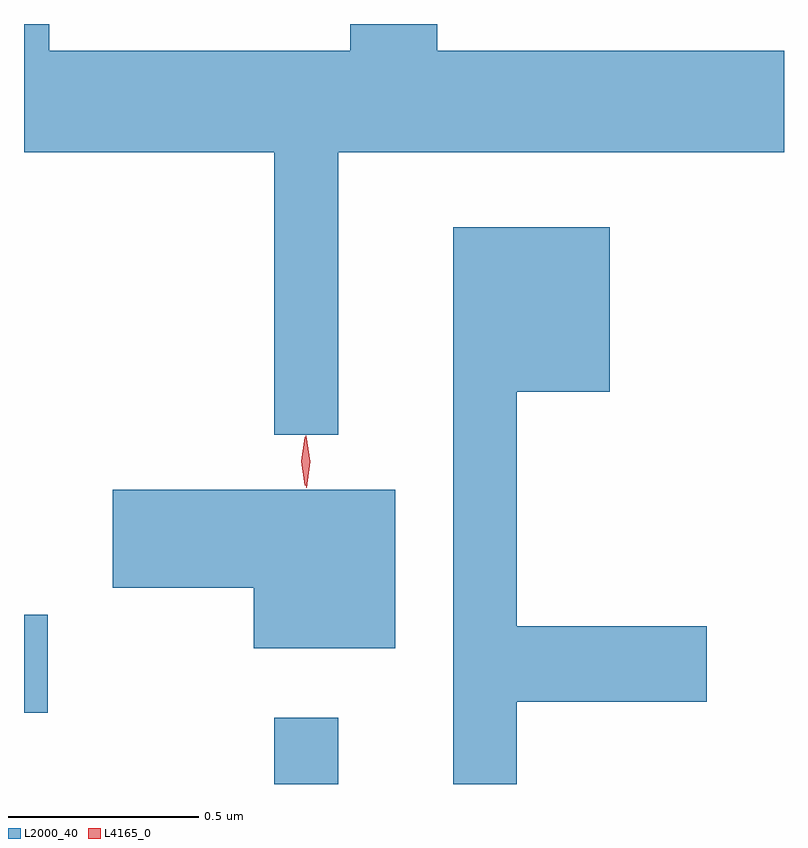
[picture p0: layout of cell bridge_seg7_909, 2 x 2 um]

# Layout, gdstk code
import gdstk
lib = gdstk.Library(unit=1e-6, precision=1e-09)
def R(c, l, rs):  # rectangles x0, y0, x1, y1
    for r in rs: c.add(gdstk.rectangle(r[:2], r[2:], *l))
def P(c, l, *ps):  # polygons
    for p in ps: c.add(gdstk.Polygon(p, *l))
L2000_40 = (2000, 40)
L4165_0 = (4165, 0)

bridge_seg7_909 = lib.new_cell('bridge_seg7_909')
R(bridge_seg7_909, L2000_40, [(250.871,1717.094,251.039,1717.268), (250.212,1717.281,250.274,1717.539)])
P(bridge_seg7_909, L2000_40, [(251.039,1718.756),(252.212,1718.756),(252.212,1719.024),(251.299,1719.024),(251.299,1719.094),(251.071,1719.094),(251.071,1719.024),(250.279,1719.024),(250.279,1719.094),(250.212,1719.094),(250.212,1718.756),(250.871,1718.756),(250.871,1718.013),(251.039,1718.013)],
  [(251.509,1717.311),(252.009,1717.311),(252.009,1717.509),(251.509,1717.509),(251.509,1718.126),(251.754,1718.126),(251.754,1718.559),(251.341,1718.559),(251.341,1717.094),(251.509,1717.094)],
  [(251.189,1717.869),(250.446,1717.869),(250.446,1717.611),(250.816,1717.611),(250.816,1717.451),(251.189,1717.451)])
P(bridge_seg7_909, L4165_0, [(250.955,1717.874),(250.955,1717.874),(250.945,1717.942),(250.954,1718.01),(250.955,1718.01),(250.955,1718.01),(250.965,1717.942),(250.956,1717.874)],
  [(250.951,1717.88),(250.942,1717.944),(250.951,1718.006),(250.952,1718.007),(250.952,1718.006),(250.962,1717.944),(250.952,1717.88),(250.952,1717.88)])

lib.write_gds('bridge_seg7_909.gds')
